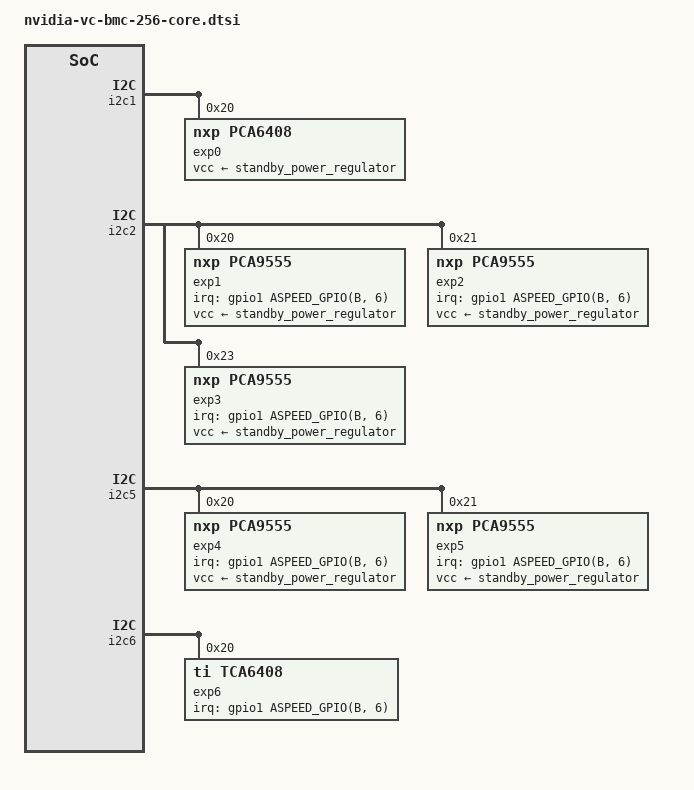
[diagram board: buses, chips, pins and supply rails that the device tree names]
// SPDX-License-Identifier: GPL-2.0+
/dts-v1/;

#include "aspeed-g6.dtsi"
#include <dt-bindings/gpio/aspeed-gpio.h>

&gpio0 {
    gpio-line-names =

    /* gpio-line-names are the combination of <signal>-<I/O> , "" is the placeholder for the unused pins*/

    /* 208 (26*8) 3.3V GPIOs */

    /*A0-A7*/
    "", "", "", "", "", "", "", "",

    /*B0-B7*/
    "", "", "", "", "", "", "", "",

    /*C0-C7*/
    "SGPIO_I2C_MUX_SEL-O",
    "", "", "", "", "", "", "",

    /*D0-D7*/
    "", "", "",
    "UART1_MUX_SEL-O",
    "",
    "FPGA_PEX_RST_L-O",
    "", "",

    /*E0-E7*/
    "RTL8221_PHY_RST_L-O",
    "RTL8211_PHY_INT_L-I",
    "",
    "UART3_MUX_SEL-O",
    "", "", "",
    "SGPIO_BMC_EN-O",

    /*F0-F7*/
    "", "", "", "", "", "", "", "",

    /*G0-G7*/
    "", "", "", "", "", "", "", "",

    /*H0-H7*/
    "", "", "", "", "", "", "", "",

    /*I0-I7*/
    "", "", "", "", "",
    "QSPI2_RST_L-O",
    "GLOBAL_WP_BMC-O",
    "BMC_DDR4_TEN-O",

    /*J0-J7*/
    "", "", "", "", "", "", "", "",

    /*K0-K7*/
    "", "", "", "", "", "", "", "",

    /*L0-L7*/
    "", "", "", "", "", "", "", "",

    /*M0-M7*/
    "PCIE_EP_RST_EN-O",
    "BMC_FRU_WP-O",
    "HMC_RESET_L-O",
    "STBY_POWER_EN-O",
    "STBY_POWER_PG-I",
    "PCIE_EP_RST_L-O",
    "", "",

    /*N0-N7*/
    "", "", "", "", "", "", "", "",

    /*O0-O7*/
    "", "", "", "", "", "", "", "",

    /*P0-P7*/
    "", "", "", "", "", "", "", "",

    /*Q0-Q7*/
    "", "", "", "", "", "", "", "",

    /*R0-R7*/
    "", "", "", "", "", "", "", "",

    /*S0-S7*/
    "", "", "", "", "", "", "", "",

    /*T0-T7*/
    "", "", "", "", "", "", "", "",

    /*U0-U7*/
    "", "", "", "", "", "", "", "",

    /*V0-V7*/
    "AP_EROT_REQ-O",
    "EROT_AP_GNT-I",
    "",
    "",
    "PCB_TEMP_ALERT-I",
    "", "", "",

    /*W0-W7*/
    "", "", "", "", "", "", "",
    "CPU_RST_L-I",

    /*X0-X7*/
    "", "",
    "TPM_MUX_SEL-O",
    "", "", "", "", "",

    /*Y0-Y7*/
    "", "", "",
    "EMMC_RST-O",
    "","", "", "",

    /*Z0-Z7*/
    "","", "", "", "", "", "", "";
};

&gpio1 {
    /* 36 1.8V GPIOs */
    gpio-line-names =
    /*A0-A7*/
    "", "", "", "", "", "", "", "",

    /*B0-B7*/
    "", "", "", "",
    "AP_EROT_REQ-O",
    "EROT_AP_GNT-I",
    "IO_EXPANDER_INT_L-I",
    "",

    /*C0-C7*/
    "", "", "", "", "", "", "", "",

    /*D0-D7*/
    "", "", "", "", "", "", "",
    "I2C_SSIF_ALERT_L-I",

    /*E0-E7*/
    "", "", "", "", "", "", "", "";
};

// I2C2 GPIO Expander
&i2c1 {
    // E1.S Storage Backplane, Expander @0x20
    exp0: pca6408@20 {
        compatible = "nxp,pca6408";
        reg = <0x20>;
        gpio-controller;
        #gpio-cells = <2>;

        vcc-supply = <&standby_power_regulator>;
        gpio-line-names =
            "E1S_MCU_RESET_L-O",
            "E1S_MCU_RECOVERY_L-O",
            "",
            "E1S_TEMP_ALERT_L-I",
            "E1S_PMB_ALERT_L-I",
            "",
            "E1S_LOWER_PERST-O",
            "";
    };
};

// I2C3 GPIO Expander
&i2c2 {
    // MGMT0 BOARD, Expander @0x20
    exp1: pca9555@20 {
        compatible = "nxp,pca9555";
        reg = <0x20>;
        gpio-controller;
        #gpio-cells = <2>;

        interrupt-controller;
        #interrupt-cells = <2>;
        interrupt-parent = <&gpio1>;
        interrupts = <ASPEED_GPIO(B, 6) IRQ_TYPE_LEVEL_LOW>;
        vcc-supply = <&standby_power_regulator>;

        gpio-line-names =
            "B0_M0_SHDN_FORCE_L-O",
            "B0_M0_STBY_PWR_PG-I",
            "B0_M0_THERM_OVERT_L-I",
            "B0_M0_THERM_WARN_L-I",
            "B0_M0_GLOBAL_WP-O",
            "B0_M0_USB0_HUB_RST_L-O",
            "B0_M0_IOX_PRE_SYS_RST_N-O",
            "B0_M0_LEAK_DETECT_ALERT_L-I",
            "B0_M0_RUN_PWR_EN-O",
            "B0_M0_MODULE_PWR_GOOD-I",
            "B0_M0_CPU_CHIPTHROT_L_3V3-I",
            "B0_M0_SHDN_REQ_L_3V3-O",
            "B0_M0_CPU_SHDN_OK_L_3V3-I",
            "B0_M0_CPLD_READY-I",
            "B0_M0_PWR_BRAKE_L_3V3-O",
            "B0_M0_PWR_BRAKE_L_STATUS-I";
    };

    // MGMT0 BOARD, Expander @0x21
    exp2: pca9555@21 {
        compatible = "nxp,pca9555";
        reg = <0x21>;
        gpio-controller;
        #gpio-cells = <2>;

        interrupt-controller;
        #interrupt-cells = <2>;
        interrupt-parent = <&gpio1>;
        interrupts = <ASPEED_GPIO(B, 6) IRQ_TYPE_LEVEL_LOW>;
        vcc-supply = <&standby_power_regulator>;

        gpio-line-names =
            "B0_M0_MCU_RESET_L-O",
            "B0_M0_HPM_MCU_OK-I",
            "B0_M0_CPU_SYS_RST_N_3V3-I",
            "B0_M0_C0_SOCAMM_DAC_I2C_SEL_R-O",
            "B0_M0_C1_SOCAMM_DAC_I2C_SEL_R-O",
            "B0_M0_C0_SOCAMM_I2C_SEL-O",
            "B0_M0_C1_SOCAMM_I2C_SEL-O",
            "B0_M0_EEPROM_POWER_DISABLE-O",
            "B0_M0_CPU_L0L1_RST_L_3V3-I",
            "B0_M0_CPU_L2_RST_L_3V3-I",
            "B0_M0_BRD_ID_0-I",
            "B0_M0_BRD_ID_1-I",
            "B0_M0_BMC_LEAK_TEST_L-O",
            "B0_M0_MCU_BMC_ALERT_L-I",
            "B0_M0_CPU_BOOT_COMPLETE_3V3-I",
            "B0_M0_MCU_RECOVERY_L-O";
    };

    // MGMT0 BOARD, Expander @0x23
    exp3: pca9555@23 {
        compatible = "nxp,pca9555";
        reg = <0x23>;
        gpio-controller;
        #gpio-cells = <2>;

        interrupt-controller;
        #interrupt-cells = <2>;
        interrupt-parent = <&gpio1>;
        interrupts = <ASPEED_GPIO(B, 6) IRQ_TYPE_LEVEL_LOW>;
        vcc-supply = <&standby_power_regulator>;
        gpio-line-names =
            "B0_M0_CPU_FORCED_RECOVERY_L-O",
            "B0_M0_CPU_BOOT_DEV_SEL0-O",
            "B0_M0_CPU_BOOT_DEV_SEL1-O",
            "B0_M0_CPU_BOOT_DEV_SEL2-O",
            "B0_M0_HMC_BRD_ID0-I",
            "B0_M0_CPU_RECOVERY_TYPE0-O",
            "B0_M0_CPU_RECOVERY_TYPE1-O",
            "B0_M0_CPU_IST_BOOT_HMC-O",
            "B0_M0_CPU_PREBOOT_DIAG-O",
            "B0_M0_HMC_BRD_ID1-I",
            "B0_M0_HPM_MCU_I2C_ENABLE-O",
            "B0_M0_CPU_DIE_SEL0-O",
            "B0_M0_CPU_DIE_SEL1-O",
            "B0_M0_CPU_DIE_SEL2-O",
            "B0_M0_CPLD_AUTH_FAIL_L_1V8-I",
            "B0_M0_IOX_JTAG_NVSEL-O";
    };
};

// I2C6 GPIO Expander
&i2c5 {
    // Baseboard (with SMM), Expander @0x20
    exp4: pca9555@20 {
        compatible = "nxp,pca9555";
        reg = <0x20>;
        gpio-controller;
        #gpio-cells = <2>;

        interrupt-controller;
        #interrupt-cells = <2>;
        interrupt-parent = <&gpio1>;
        interrupts = <ASPEED_GPIO(B, 6) IRQ_TYPE_LEVEL_LOW>;
        vcc-supply = <&standby_power_regulator>;
        gpio-line-names =
            "",
            "8373_INT_N-O",
            "P12V_STBY_PG-I",
            "GLOBAL_WP-O",
            "",
            "STBY_ETH_PG-I",
            "BMC_SELF_PWR_CYCLE-O",
            "EEDO_1_LED2-O",
            "",
            "",
            "P1V8_PG-I",
            "P1V05_PG-I",
            "",
            "USB2_HUB_RST_L-O",
            "",
            "";
    };

    // Baseboard (with SMM), Expander @0x21
    exp5: pca9555@21 {
        compatible = "nxp,pca9555";
        reg = <0x21>;
        gpio-controller;
        #gpio-cells = <2>;

        interrupt-controller;
        #interrupt-cells = <2>;
        interrupt-parent = <&gpio1>;
        interrupts = <ASPEED_GPIO(B, 6) IRQ_TYPE_LEVEL_LOW>;
        vcc-supply = <&standby_power_regulator>;
        gpio-line-names =
            "U8367_LINK_BF4_GOOD-I",
            "BMC_TPM_MUX_SEL-O",
            "BOARD_ID_0-I",
            "BOARD_ID_1-I",
            "",
            "HDR_SPI_PRSNT_L-I",
            "",
            "P54V_HSC_PG-I",
            "I2C_BUS_MUX_RESET_L-O",
            "",
            "PDB_TRAY_RST-O",
            "HOST_RDY_PWR_EN-I",
            "RTC_CLR_L-O",
            "I2C_RTC_ALERT_L-I",
            "X86_MUX_TPM_RST_SEL-O",
            "";
    };
};

// I2C7 GPIO Expander
&i2c6 {
    // BMC IO Expander @0x20
    exp6: tca6408@20 {
        compatible = "ti,tca6408";
        reg = <0x20>;
        gpio-controller;
        #gpio-cells = <2>;

        interrupt-controller;
        #interrupt-cells = <2>;
        interrupt-parent = <&gpio1>;
        interrupts = <ASPEED_GPIO(B, 6) IRQ_TYPE_LEVEL_LOW>;

        gpio-line-names =
            "",
            "",
            "EROT_FATAL_ERROR_N",
            "",
            "",
            "EROT_RECOV_N",
            "NRESET_IN_IOX_N",
            "";
    };
};

// EMMC group that excludes WP & CD pin
&pinctrl {
    pinctrl_emmcg9_default: emmcg9_default {
        function = "EMMC";
        groups = "EMMCG9";
    };
};
